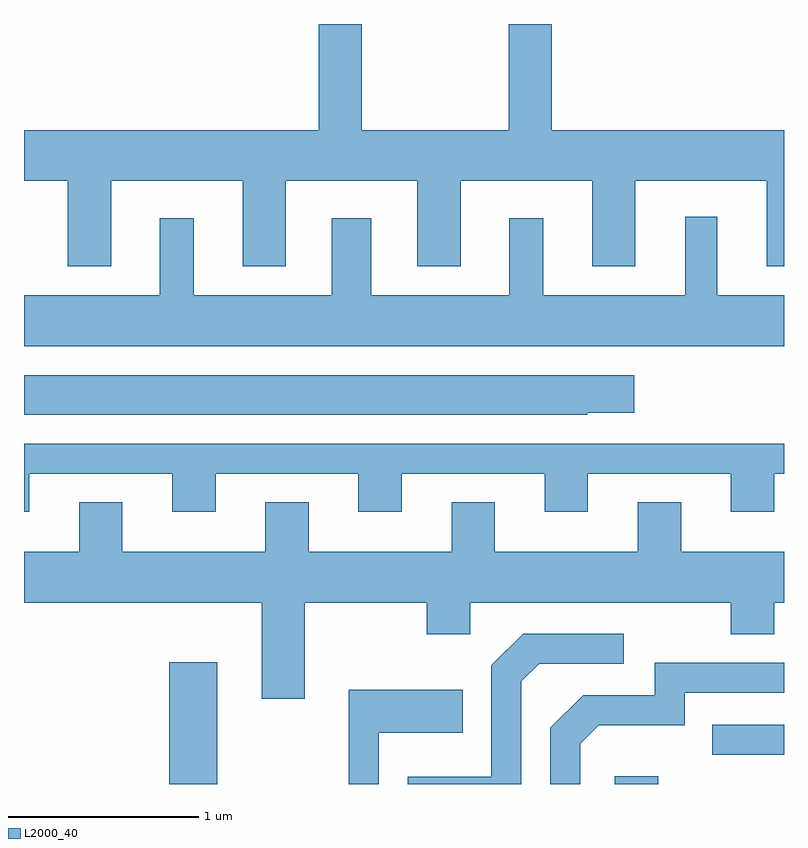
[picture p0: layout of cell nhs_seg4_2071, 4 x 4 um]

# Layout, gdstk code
import gdstk
lib = gdstk.Library(unit=1e-6, precision=1e-09)
def R(c, l, rs):  # rectangles x0, y0, x1, y1
    for r in rs: c.add(gdstk.rectangle(r[:2], r[2:], *l))
def P(c, l, *ps):  # polygons
    for p in ps: c.add(gdstk.Polygon(p, *l))
L2000_40 = (2000, 40)

nhs_seg4_2071 = lib.new_cell('nhs_seg4_2071')
R(nhs_seg4_2071, L2000_40, [(246.376,1315.982,246.629,1316.624), (248.721,1315.982,248.949,1316.024), (249.233,1316.136,249.611,1316.294)])
P(nhs_seg4_2071, L2000_40, [(246.069,1319.156),(246.761,1319.156),(246.761,1318.706),(246.989,1318.706),(246.989,1319.156),(247.681,1319.156),(247.681,1318.706),(247.909,1318.706),(247.909,1319.156),(248.601,1319.156),(248.601,1318.706),(248.829,1318.706),(248.829,1319.156),(249.521,1319.156),(249.521,1318.706),(249.611,1318.706),(249.611,1319.424),(248.389,1319.424),(248.389,1319.982),(248.161,1319.982),(248.161,1319.424),(247.389,1319.424),(247.389,1319.982),(247.161,1319.982),(247.161,1319.424),(245.611,1319.424),(245.611,1319.156),(245.841,1319.156),(245.841,1318.706),(246.069,1318.706)],
  [(249.611,1318.554),(249.259,1318.554),(249.259,1318.968),(249.091,1318.968),(249.091,1318.554),(248.344,1318.554),(248.344,1318.959),(248.166,1318.959),(248.166,1318.554),(247.439,1318.554),(247.439,1318.959),(247.231,1318.959),(247.231,1318.554),(246.504,1318.554),(246.504,1318.959),(246.326,1318.959),(246.326,1318.554),(245.611,1318.554),(245.611,1318.286),(249.611,1318.286)],
  [(248.575,1317.936),(248.824,1317.936),(248.824,1318.134),(245.611,1318.134),(245.611,1317.926),(248.575,1317.926)],
  [(245.639,1317.616),(246.391,1317.616),(246.391,1317.416),(246.619,1317.416),(246.619,1317.616),(247.371,1317.616),(247.371,1317.416),(247.599,1317.416),(247.599,1317.616),(248.351,1317.616),(248.351,1317.416),(248.579,1317.416),(248.579,1317.616),(249.331,1317.616),(249.331,1317.416),(249.559,1317.416),(249.559,1317.616),(249.611,1317.616),(249.611,1317.774),(245.611,1317.774),(245.611,1317.416),(245.639,1317.416)],
  [(249.331,1316.771),(249.559,1316.771),(249.559,1316.936),(249.611,1316.936),(249.611,1317.204),(249.069,1317.204),(249.069,1317.464),(248.841,1317.464),(248.841,1317.204),(248.089,1317.204),(248.089,1317.464),(247.861,1317.464),(247.861,1317.204),(247.109,1317.204),(247.109,1317.464),(246.881,1317.464),(246.881,1317.204),(246.129,1317.204),(246.129,1317.464),(245.901,1317.464),(245.901,1317.204),(245.611,1317.204),(245.611,1316.936),(246.861,1316.936),(246.861,1316.431),(247.089,1316.431),(247.089,1316.936),(247.731,1316.936),(247.731,1316.771),(247.959,1316.771),(247.959,1316.936),(249.331,1316.936)],
  [(248.229,1316.524),(248.322,1316.616),(248.768,1316.616),(248.768,1316.774),(248.239,1316.774),(248.071,1316.607),(248.071,1316.019),(247.631,1316.019),(247.631,1315.982),(248.229,1315.982)],
  [(248.539,1316.194),(248.637,1316.291),(249.089,1316.291),(249.089,1316.461),(249.611,1316.461),(249.611,1316.619),(248.931,1316.619),(248.931,1316.449),(248.554,1316.449),(248.381,1316.277),(248.381,1315.982),(248.539,1315.982)],
  [(247.479,1316.251),(247.919,1316.251),(247.919,1316.479),(247.321,1316.479),(247.321,1315.982),(247.479,1315.982)])

lib.write_gds('nhs_seg4_2071.gds')
